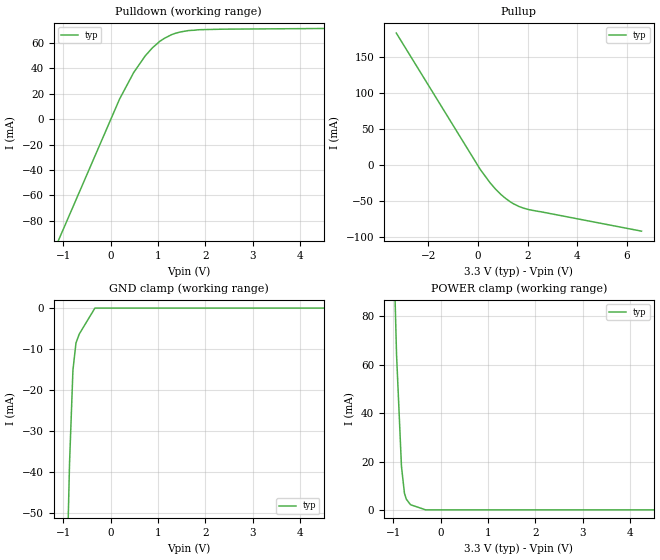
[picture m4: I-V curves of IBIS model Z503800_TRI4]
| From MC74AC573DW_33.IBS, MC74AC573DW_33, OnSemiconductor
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| (C) COPYRIGHT 1993-2000
| MENTOR GRAPHICS CORPORATION
| ICX STANDARD LIBRARY, ICX PROJECT MODELING,
| ICX CUSTOM MODELING, ICX VENDOR MODEL
| ALL RIGHTS RESERVED.
| THE FOLLOWING ARE TRADEMARKS OR SERVICE MARKS OF
| MENTOR GRAPHICS CORPORATION:ICX (R), ICX STANDARD
| LIBRARY(R), ICX PROJECT MODELING(R), ICX CUSTOM
| MODELING(R), qualityIBIS(TM), MODELVIEWER(TM),
| AND MODELEDITOR(TM)
| ALL COPIES OF SOFTWARE, INCLUDING BUT NOT LIMITED TO
| ANY MODIFICATIONS, ENHANCEMENTS OR DERIVATIVE WORKS,
| MUST CONTAIN ALL MENTOR GRAPHICS CORPORATION'S
| NOTICES AND LEGENDS, INCLUDING THOSE EMBEDDED IN
| SOFTWARE AND THOSE AFFIXED TO SOFTWARE MEDIUM
| AND CONTAINER, AS RECEIVED FROM MENTOR GRAPHICS
| CORPORATION.
| Model Application Version 1.89 2/18/99.
[Model] Z503800_TRI4
Model_type 3-state
Vref=0.000V
Rref=500.0ohms
Cref=50.00pF
Vmeas=1.650V
C_comp 8.000pF NA NA
| variable typ   min   max
[Voltage Range] 3.300V NA NA
[POWER Clamp Reference] 3.300V NA NA
[Pullup Reference] 3.300V NA NA
[Pulldown Reference] 0.000V NA NA
[GND Clamp Reference] 0.000V NA NA
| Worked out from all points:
|   slope of the pulldown table from 0 to 0.495 V, typ, clamps not added: 13.2 ohm
|   slope of the pullup table from 0 to 0.495 V, typ, clamps not added: 20.8 ohm
[GND Clamp]
-3.3V     -991.9mA   NA         NA
-1.075V   -138.7mA   NA         NA
-868mV    -37.81mA   NA         NA
-796.1mV  -15.12mA   NA         NA
-731.9mV  -8.497mA   NA         NA
-662.9mV  -6.338mA   NA         NA
-331.4mV  0A         NA         NA
6.6V      0A         NA         NA
[Pulldown]
-3.3V     -285mA     NA         NA
191mV     16.04mA    NA         NA
486.8mV   36.75mA    NA         NA
732.7mV   49.99mA    NA         NA
882.6mV   56.24mA    NA         NA
1.038V    61.35mA    NA         NA
1.29V     66.68mA    NA         NA
1.648V    69.89mA    NA         NA
1.905V    70.58mA    NA         NA
6.6V      72.04mA    NA         NA
[Pullup]
-3.3V     182.7mA    NA         NA
94mV      -6.319mA   NA         NA
492mV     -24.82mA   NA         NA
702mV     -33.16mA   NA         NA
1.107V    -46.05mA   NA         NA
1.435V    -53.72mA   NA         NA
1.651V    -57.34mA   NA         NA
2.065V    -61.84mA   NA         NA
6.6V      -91.53mA   NA         NA
[POWER Clamp]
-3.3V     2.27A      NA         NA
-1.085V   173.9mA    NA         NA
-935mV    64.21mA    NA         NA
-831mV    17.99mA    NA         NA
-768mV    6.861mA    NA         NA
-729mV    4.423mA    NA         NA
-640mV    2.13mA     NA         NA
-320mV    0A         NA         NA
6.6V      0A         NA         NA
[Ramp]
| variable typ min max
dV/dt_r 1.920/820.1p NA NA
dV/dt_f 1.920/690.8p NA NA
R_load = 500.0Ohms
